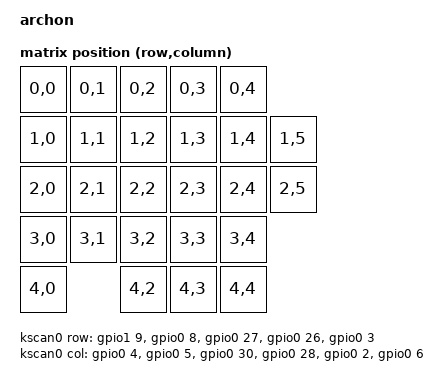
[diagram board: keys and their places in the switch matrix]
/*
 * Copyright (c) 2021 Sascha Ludwig
 *
 * SPDX-License-Identifier: MIT
 */

/dts-v1/;
#include <nordic/nrf52840_qiaa.dtsi>

#include <dt-bindings/zmk/matrix_transform.h>

/ {
	model = "archon";
	compatible = "archon,nrf52840";

	chosen {
		zephyr,sram = &sram0;
		zephyr,flash = &flash0;
		zmk,kscan = &kscan0;
	};

    kscan0: kscan_0 {
		compatible = "zmk,kscan-gpio-matrix";
		label  = "KSCAN";
		diode-direction = "col2row";

		col-gpios
			= <&gpio0 4 GPIO_ACTIVE_HIGH> 
			, <&gpio0 5 GPIO_ACTIVE_HIGH>
			, <&gpio0 30 GPIO_ACTIVE_HIGH>
			, <&gpio0 28 GPIO_ACTIVE_HIGH>
			, <&gpio0 2 GPIO_ACTIVE_HIGH>
			, <&gpio0 6 GPIO_ACTIVE_HIGH>
			;

			
		row-gpios
			= <&gpio1 9 (GPIO_ACTIVE_HIGH | GPIO_PULL_DOWN)>
			, <&gpio0 8 (GPIO_ACTIVE_HIGH | GPIO_PULL_DOWN)>
			, <&gpio0 27 (GPIO_ACTIVE_HIGH | GPIO_PULL_DOWN)>
			, <&gpio0 26 (GPIO_ACTIVE_HIGH | GPIO_PULL_DOWN)>
			, <&gpio0 3 (GPIO_ACTIVE_HIGH | GPIO_PULL_DOWN)>
			;
    };

	    default_transform: keymap_transform_0 {
        compatible = "zmk,matrix-transform";
        columns = <6>;
        rows = <5>;

			// | Esc |   | F | U | C | K |
            // | F6  |	 | S | H | I | T |	| Enc |
            // | F7  |   | D | A | M | N |	| Enc |
            // | F8  |   | W | E | L | P |
            // 
            // | BACKSPACE | |Ctl|Alt|Del|
        map = <
            RC(0,0)	 RC(0,1) RC(0,2) RC(0,3) RC(0,4) 
            RC(1,0)  RC(1,1) RC(1,2) RC(1,3) RC(1,4)  RC(1,5) 
            RC(2,0)  RC(2,1) RC(2,2) RC(2,3) RC(2,4)  RC(2,5) 
            RC(3,0)  RC(3,1) RC(3,2) RC(3,3) RC(3,4)
			RC(4,0)  		 RC(4,2) RC(4,3) RC(4,4)   
        >;
    };
};

	

&adc {
	status = "okay";
};

&gpio0 {
	status = "okay";
};

&gpio1 {
	status = "okay";
};

&uart0 {
	status = "disabled";
	compatible = "nordic,nrf-uarte";
	tx-pin = <25>;
	rx-pin = <24>;
};

&i2c0 {
	status = "okay";
	compatible = "nordic,nrf-twi";
	sda-pin = <12>;
	scl-pin = <11>;
};


&usbd {
	compatible = "nordic,nrf-usbd";
	status = "okay";
};


&flash0 {
	/*
	 * For more information, see:
	 * http://docs.zephyrproject.org/latest/devices/dts/flash_partitions.html
	 */
	partitions {
		compatible = "fixed-partitions";
		#address-cells = <1>;
		#size-cells = <1>;

		sd_partition: partition@0 {
			label = "softdevice";
			reg = <0x00000000 0x00026000>;
		};
		code_partition: partition@26000 {
			label = "code_partition";
			reg = <0x00026000 0x000c6000>;
		};

		/*
		 * The flash starting at 0x000ec000 and ending at
		 * 0x000f3fff is reserved for use by the application.
		 */

		/*
		 * Storage partition will be used by FCB/LittleFS/NVS
		 * if enabled.
		 */
		storage_partition: partition@ec000 {
			label = "storage";
			reg = <0x000ec000 0x00008000>;
		};

		boot_partition: partition@f4000 {
			label = "adafruit_boot";
			reg = <0x000f4000 0x0000c000>;
		};
	};
};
